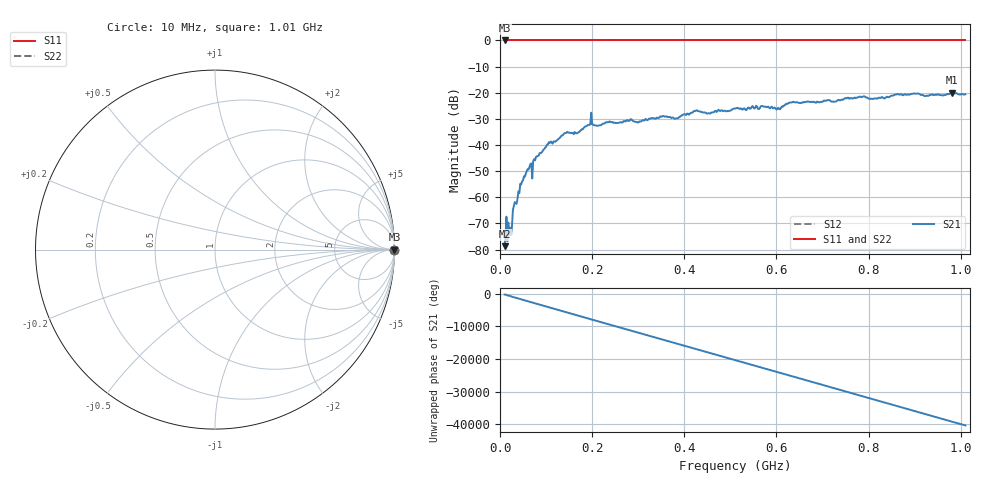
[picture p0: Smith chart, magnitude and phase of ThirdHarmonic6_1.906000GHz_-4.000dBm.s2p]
! 8/16/2025 10:59:46 PM
! C:\ANRITSUVNA\TEMP\TEMP.S2P
! CHANNEL.1
! TR.MEASUREMENT
! RAW.DATA
! RF.CORRECTION.OFF
! AVERAGING.OFF
! IF.BANDWIDTH: 5KHZ
! SWEEPTYPE:  FREQ.SWEEP(Linear)
! Reference Plane Port Info
! PORT:  PORT1  PORT2
! DISTANCE:  0  m  0  m
! TIME:  0  s  0  s
! PHASE.OFFSET:  0  deg.  0  deg.
! LOSS:  0  dB  0  dB
! REF.LOSS:  0  dB  0  dB
! REF.FREQ:  0  Hz  0  Hz
! Power Info
! POWER:  -20  dBm  -20  dBm
! EFF.POWER:  -20  dBm  -20  dBm
! SOURCE.ATTEN:  0  dB  0  dB
! TEST.ATTEN:  0  dB  0  dB
# GHZ S RI R 50.0
! FREQ.GHZ  S11RE  S11IM  S21RE  S21IM  S12RE  S12IM  S22RE  S22IM
!; PortSelection: Port_12
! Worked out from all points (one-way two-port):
!   501 points, 10 MHz to 1.01 GHz, reference 50 ohm
!   highest |S21| = -20.03 dB at 980 MHz (marker M1); lowest = -78.7 dB at 10 MHz (marker M2)
!   lowest |S11| = 0.0 dB at 10 MHz (marker M3)
!   |S11| at or under -10 dB: nowhere
!   |S22| runs from 0.0 to 0.0 dB; largest |S21 - S12| = 1.1
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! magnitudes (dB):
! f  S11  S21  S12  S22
! 10 MHz  0.0  -78.7  0.0  0.0
! 16 MHz  0.0  -76.8  0.0  0.0
! 20 MHz  0.0  -74.5  0.0  0.0
! 24 MHz  0.0  -74.4  0.0  0.0
! 32 MHz  0.0  -61.9  0.0  0.0
! 48 MHz  0.0  -53.9  0.0  0.0
! 76 MHz  0.0  -45.9  0.0  0.0
! 106 MHz  0.0  -38.9  0.0  0.0
! 142 MHz  0.0  -35.5  0.0  0.0
! 178 MHz  0.0  -33.9  0.0  0.0
! 196 MHz  0.0  -32.1  0.0  0.0
! 214 MHz  0.0  -32.6  0.0  0.0
! 344 MHz  0.0  -29.7  0.0  0.0
! 382 MHz  0.0  -29.8  0.0  0.0
! 424 MHz  0.0  -27.0  0.0  0.0
! 510 MHz  0.0  -26.1  0.0  0.0
! 604 MHz  0.0  -25.8  0.0  0.0
! 632 MHz  0.0  -23.7  0.0  0.0
! 678 MHz  0.0  -23.6  0.0  0.0
! 844 MHz  0.0  -21.7  0.0  0.0
! 980 MHz  0.0  -20.0  0.0  0.0
! 1.01 GHz  0.0  -20.6  0.0  0.0
